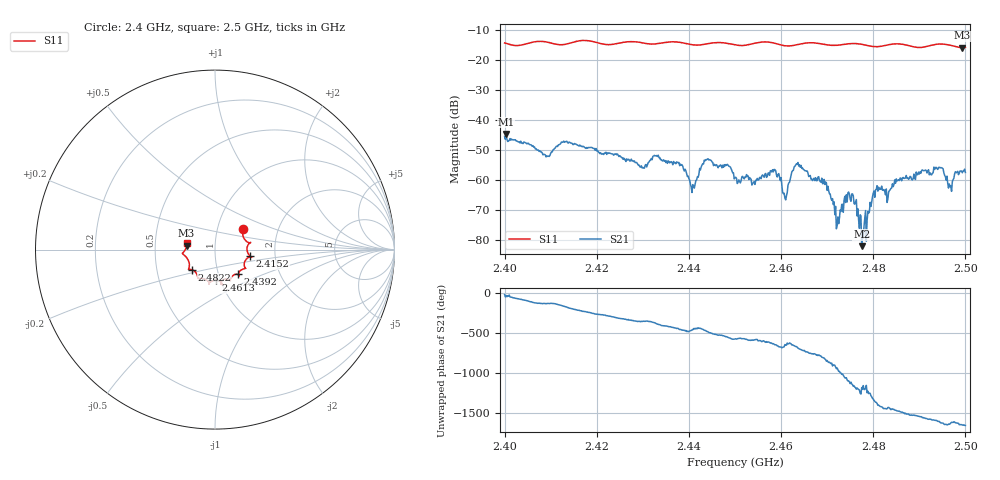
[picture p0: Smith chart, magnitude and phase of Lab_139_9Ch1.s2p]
# Hz S RI R 50
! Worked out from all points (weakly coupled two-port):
!   601 points, 2.4 GHz to 2.5 GHz, reference 50 ohm
!   highest |S21| = -44.62 dB at 2.4003 GHz (marker M1); lowest = -81.9 dB at 2.4775 GHz (marker M2)
!   lowest |S11| = -15.9 dB at 2.4993 GHz (marker M3), VSWR 1.38, Z = 36.3 + j1.64 ohm
!   |S11| at or under -10 dB: start of sweep to end of sweep
!   S12 and S22 are empty: the file has one direction only
!   S11 on the Smith chart (normalised r, x): 2.4 GHz: 1.33, +0.31; 2.4152 GHz: 1.48, -0.11; 2.4392 GHz: 1.24, -0.35; 2.4613 GHz: 0.96, -0.34; 2.4822 GHz: 0.75, -0.17; 2.5 GHz: 0.73, +0.05
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2.4e9  0.1548 0.1121  0.00506 -0.00176  0 0  0 0
2.400333e9  0.1542 0.1078  0.00503 -0.00304  0 0  0 0
2.409333e9  0.193 0.0374  -0.00158 -0.00192  0 0  0 0
2.415167e9  0.1955 -0.0366  -0.00367 0.00175  0 0  0 0
2.416667e9  0.2049 -0.0429  -0.0027 0.00251  0 0  0 0
2.433333e9  0.1323 -0.1317  0.00225 -0.00131  0 0  0 0
2.439167e9  0.1273 -0.138  -0.000583 -0.00141  0 0  0 0
2.440833e9  0.1112 -0.1384  -0.000146 -0.000831  0 0  0 0
2.443833e9  0.0869 -0.1627  -0.0011 -0.00189  0 0  0 0
2.45e9  0.0684 -0.1641  -0.000915 0.000621  0 0  0 0
2.458333e9  0.0373 -0.1874  8.96e-05 0.00138  0 0  0 0
2.461333e9  0.00728 -0.1702  -4.93e-05 0.000622  0 0  0 0
2.463333e9  -0.0205 -0.1768  0.00121 0.00143  0 0  0 0
2.466667e9  -0.033 -0.1895  0.000791 -0.000674  0 0  0 0
2.469833e9  -0.0409 -0.1736  -0.00061 -0.000669  0 0  0 0
2.472167e9  -0.067 -0.1612  -0.000139 0.000108  0 0  0 0
2.475167e9  -0.092 -0.1619  0.000366 -0.000257  0 0  0 0
2.4775e9  -0.096 -0.1538  -1.77e-05 -7.83e-05  0 0  0 0
2.482167e9  -0.1286 -0.1123  0.000693 -4.46e-05  0 0  0 0
2.483333e9  -0.14 -0.1105  0.000627 9.72e-05  0 0  0 0
2.499333e9  -0.1583 0.022  -0.00115 0.000668  0 0  0 0
2.5e9  -0.1577 0.0343  -0.00108 0.000802  0 0  0 0
